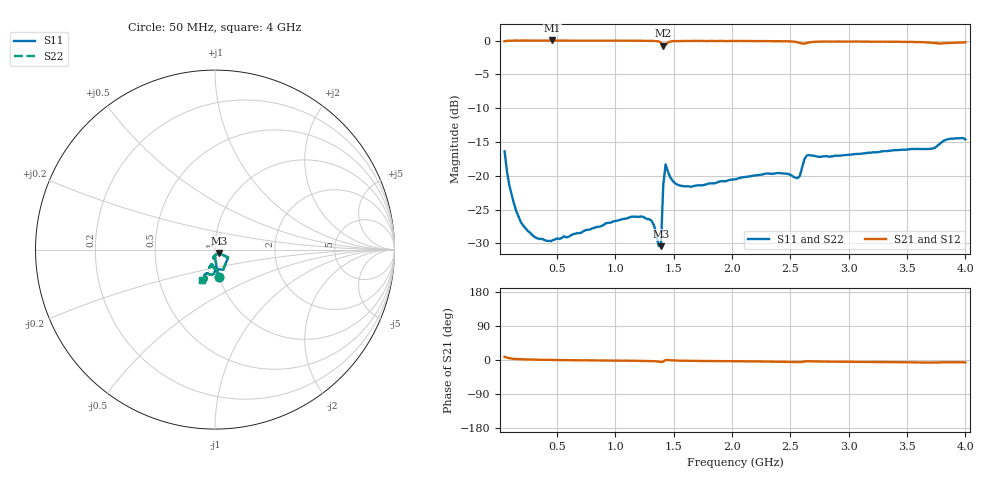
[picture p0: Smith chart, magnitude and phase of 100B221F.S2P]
!  American Technical Ceramics  Date:  3/13/98
!  One Norden Lane
!  Huntington Station,  NY.  11746-2102
!  Tel:  (516) 547-5700  Fax:  (516) 547-5748
!  Part Number  100b221f
!  Description: Porcelain, High Q, Low ESR
!  Application: Bypass, Coupling, Timing, Feedback
!  Tuning, Impedance Match, Blocking
# GHZ S DB R 50
! Freq  |S11|  S11 Ph  |S21|  S21 Ph  |S12|  S12 Ph  |S22|  S22 Ph
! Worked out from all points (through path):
!   201 points, 50 MHz to 4 GHz, reference 50 ohm
!   highest |S21| = 0.04 dB at 460 MHz (marker M1); lowest = -0.7 dB at 1.41 GHz (marker M2)
!   group delay of S21, straight-line fit = 5.79 ps
!   lowest |S11| = -30.4 dB at 1.39 GHz (marker M3), VSWR 1.06, Z = 52.2 - j2.11 ohm
!   |S11| at or under -10 dB: start of sweep to end of sweep
!   |S22| runs from -30.4 to -14.4 dB; largest |S21 - S12| = 0
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0.05  -16.38 -82.3  -0.08 8.5  -0.08 8.5  -16.38 -82.3
0.09  -21.36 -85.5  0.00 4.7  0.00 4.7  -21.36 -85.5
0.19  -26.89 -88.7  0.03 2.2  0.03 2.2  -26.89 -88.7
0.31  -29.08 -90.9  0.03 0.9  0.03 0.9  -29.08 -90.9
0.46  -29.53 -92.0  0.04 0.1  0.04 0.1  -29.53 -92.0
0.72  -28.28 -95.4  0.01 -0.9  0.01 -0.9  -28.28 -95.4
1.22  -26.01 -100.6  -0.01 -2.2  -0.01 -2.2  -26.01 -100.6
1.31  -26.68 -101.1  -0.02 -2.9  -0.02 -2.9  -26.68 -101.1
1.37  -30.39 -86.5  -0.10 -4.1  -0.10 -4.1  -30.39 -86.5
1.39  -30.42 -42.0  -0.26 -5.1  -0.26 -5.1  -30.42 -42.0
1.41  -21.38 -30.9  -0.74 -4.4  -0.74 -4.4  -21.38 -30.9
1.43  -18.30 -68.3  -0.60 0.2  -0.60 0.2  -18.30 -68.3
1.47  -20.23 -93.4  -0.12 -0.7  -0.12 -0.7  -20.23 -93.4
1.55  -21.43 -100.7  -0.05 -1.8  -0.05 -1.8  -21.43 -100.7
2.03  -20.54 -106.1  -0.05 -3.3  -0.05 -3.3  -20.54 -106.1
2.4  -19.58 -108.4  -0.07 -4.3  -0.07 -4.3  -19.58 -108.4
2.56  -20.36 -100.1  -0.23 -5.5  -0.23 -5.5  -20.36 -100.1
2.64  -17.00 -97.2  -0.33 -3.3  -0.33 -3.3  -17.00 -97.2
2.7  -17.02 -105.3  -0.17 -3.5  -0.17 -3.5  -17.02 -105.3
3.35  -16.30 -112.0  -0.16 -5.6  -0.16 -5.6  -16.30 -112.0
3.72  -15.96 -108.3  -0.31 -6.9  -0.31 -6.9  -15.96 -108.3
4  -14.61 -113.7  -0.23 -6.3  -0.23 -6.3  -14.61 -113.7
